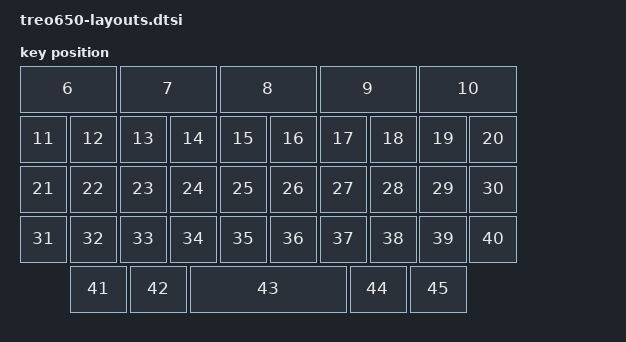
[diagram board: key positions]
#include <physical_layouts.dtsi>

/ {
    layout_0: layout_0 { // First physical layout, use different naming for other layouts
        compatible = "zmk,physical-layout";
        display-name = "treo650_layout";
        kscan = <&kscan0>; // Label of the kscan node, optional if all layouts use the same
        transform = <&default_transform>; // Label of the matrix transform for this layout
        keys
            = <&key_physical_attrs 200    100     200     100        0     0     0>
            , <&key_physical_attrs 200    100     400     100        0     0     0>
            , <&key_physical_attrs 200    100     600     100        0     0     0>
            , <&key_physical_attrs 200    100     200     100        0     0     0>
            , <&key_physical_attrs 200    100     400     100        0     0     0>
            , <&key_physical_attrs 200    100     600     100        0     0     0>
            , <&key_physical_attrs 200    100       0     100        0     0     0>
            , <&key_physical_attrs 200    100     200     100        0     0     0>
            , <&key_physical_attrs 200    100     400     100        0     0     0>
            , <&key_physical_attrs 200    100     600     100        0     0     0>
            , <&key_physical_attrs 200    100     800     100        0     0     0>

            /* 第1行：10个标准按键（默认w=1, h=1） */
            , <&key_physical_attrs 100    100       0     200        0     0     0>
            , <&key_physical_attrs 100    100     100     200        0     0     0>
            , <&key_physical_attrs 100    100     200     200        0     0     0>
            , <&key_physical_attrs 100    100     300     200        0     0     0>
            , <&key_physical_attrs 100    100     400     200        0     0     0>
            , <&key_physical_attrs 100    100     500     200        0     0     0>
            , <&key_physical_attrs 100    100     600     200        0     0     0>
            , <&key_physical_attrs 100    100     700     200        0     0     0>
            , <&key_physical_attrs 100    100     800     200        0     0     0>
            , <&key_physical_attrs 100    100     900     200        0     0     0>

            /* 第2行：10个标准按键 */
            , <&key_physical_attrs 100    100       0     300        0     0     0>
            , <&key_physical_attrs 100    100     100     300        0     0     0>
            , <&key_physical_attrs 100    100     200     300        0     0     0>
            , <&key_physical_attrs 100    100     300     300        0     0     0>
            , <&key_physical_attrs 100    100     400     300        0     0     0>
            , <&key_physical_attrs 100    100     500     300        0     0     0>
            , <&key_physical_attrs 100    100     600     300        0     0     0>
            , <&key_physical_attrs 100    100     700     300        0     0     0>
            , <&key_physical_attrs 100    100     800     300        0     0     0>
            , <&key_physical_attrs 100    100     900     300        0     0     0>

            /* 第3行：10个标准按键 */
            , <&key_physical_attrs 100    100       0     400        0     0     0>
            , <&key_physical_attrs 100    100     100     400        0     0     0>
            , <&key_physical_attrs 100    100     200     400        0     0     0>
            , <&key_physical_attrs 100    100     300     400        0     0     0>
            , <&key_physical_attrs 100    100     400     400        0     0     0>
            , <&key_physical_attrs 100    100     500     400        0     0     0>
            , <&key_physical_attrs 100    100     600     400        0     0     0>
            , <&key_physical_attrs 100    100     700     400        0     0     0>
            , <&key_physical_attrs 100    100     800     400        0     0     0>
            , <&key_physical_attrs 100    100     900     400        0     0     0>

            /* 第4行：5个特殊宽度按键 */
            , <&key_physical_attrs 120    100     100     500        0     0     0>
            , <&key_physical_attrs 120    100     220     500        0     0     0>
            , <&key_physical_attrs 320    100     340     500        0     0     0>
            , <&key_physical_attrs 120    100     660     500        0     0     0>
            , <&key_physical_attrs 120    100     780     500        0     0     0>
            ;
    };
};
